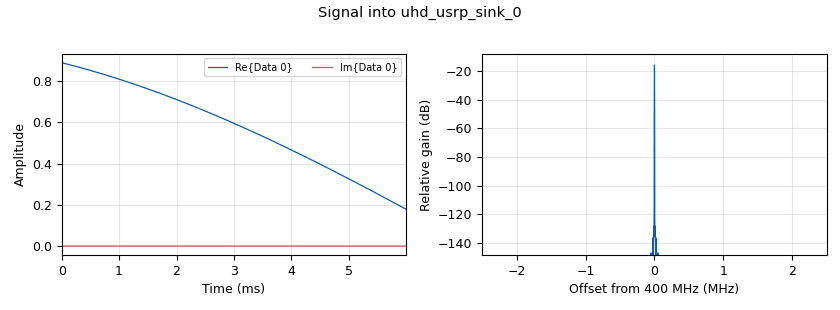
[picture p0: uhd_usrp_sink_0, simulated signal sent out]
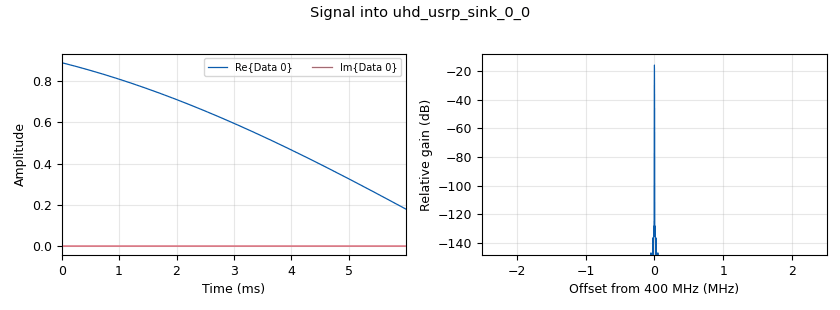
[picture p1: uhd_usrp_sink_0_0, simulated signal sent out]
<?xml version='1.0' encoding='utf-8'?>
<?grc format='1' created='3.7.9'?>
<flow_graph>
<block>
<key>options</key>
<param><key>id</key><value>mimo2x2_singleToneTx</value></param>
<param><key>author</key><value>astro</value></param>
<param><key>category</key><value>Custom</value></param>
<param><key>description</key><value>This is a simple transmitter to study mimo2x2. Ref: Ettus.  -CRC Lab-</value></param>
<param><key>generate_options</key><value>qt_gui</value></param>
<param><key>title</key><value>mimo2x2_singleToneTx</value></param>
</block>
<block>
<key>variable</key>
<param><key>id</key><value>amp</value></param>
<param><key>value</key><value>1</value></param>
</block>
<block>
<key>variable</key>
<param><key>id</key><value>freq</value></param>
<param><key>value</key><value>400e6</value></param>
</block>
<block>
<key>variable</key>
<param><key>id</key><value>gain</value></param>
<param><key>value</key><value>15</value></param>
</block>
<block>
<key>variable</key>
<param><key>id</key><value>gain_0</value></param>
<param><key>value</key><value>10</value></param>
</block>
<block>
<key>variable_qtgui_range</key>
<param><key>id</key><value>phase</value></param>
<param><key>value</key><value>0</value></param>
<param><key>orient</key><value>Qt.Horizontal</value></param>
<param><key>start</key><value>0</value></param>
<param><key>step</key><value>0.5</value></param>
<param><key>stop</key><value>6.283</value></param>
</block>
<block>
<key>variable</key>
<param><key>id</key><value>samp_rate</value></param>
<param><key>value</key><value>5e6</value></param>
</block>
<block>
<key>analog_sig_source_x</key>
<param><key>id</key><value>analog_sig_source_x_0</value></param>
<param><key>amp</key><value>amp</value></param>
<param><key>freq</key><value>freq</value></param>
<param><key>offset</key><value>0</value></param>
<param><key>type</key><value>float</value></param>
<param><key>samp_rate</key><value>samp_rate</value></param>
<param><key>waveform</key><value>analog.GR_SIN_WAVE</value></param>
</block>
<block>
<key>analog_sig_source_x</key>
<param><key>id</key><value>analog_sig_source_x_0_0</value></param>
<param><key>amp</key><value>amp</value></param>
<param><key>freq</key><value>freq</value></param>
<param><key>offset</key><value>0</value></param>
<param><key>type</key><value>float</value></param>
<param><key>samp_rate</key><value>samp_rate</value></param>
<param><key>waveform</key><value>analog.GR_SIN_WAVE</value></param>
</block>
<block>
<key>blocks_float_to_complex</key>
<param><key>id</key><value>blocks_float_to_complex_0</value></param>
</block>
<block>
<key>blocks_float_to_complex</key>
<param><key>id</key><value>blocks_float_to_complex_0_0</value></param>
</block>
<block>
<key>uhd_usrp_sink</key>
<param><key>id</key><value>uhd_usrp_sink_0</value></param>
<param><key>ant0</key><value>TX/RX</value></param>
<param><key>bw0</key><value>samp_rate</value></param>
<param><key>center_freq0</key><value>freq</value></param>
<param><key>norm_gain0</key><value>False</value></param>
<param><key>gain0</key><value>gain</value></param>
<param><key>clock_rate</key><value>0.0</value></param>
<param><key>dev_args</key><value>""</value></param>
<param><key>type</key><value>fc32</value></param>
<param><key>samp_rate</key><value>samp_rate</value></param>
<param><key>hide_cmd_port</key><value>False</value></param>
<param><key>sync</key><value></value></param>
<param><key>len_tag_name</key><value></value></param>
</block>
<block>
<key>uhd_usrp_sink</key>
<param><key>id</key><value>uhd_usrp_sink_0_0</value></param>
<param><key>ant0</key><value>TX/RX</value></param>
<param><key>bw0</key><value>samp_rate</value></param>
<param><key>center_freq0</key><value>freq</value></param>
<param><key>norm_gain0</key><value>False</value></param>
<param><key>gain0</key><value>gain</value></param>
<param><key>clock_rate</key><value>0.0</value></param>
<param><key>dev_args</key><value>""</value></param>
<param><key>type</key><value>fc32</value></param>
<param><key>samp_rate</key><value>samp_rate</value></param>
<param><key>hide_cmd_port</key><value>False</value></param>
<param><key>sync</key><value></value></param>
<param><key>len_tag_name</key><value></value></param>
</block>
<connection><source_block_id>analog_sig_source_x_0</source_block_id><sink_block_id>blocks_float_to_complex_0</sink_block_id><source_key>0</source_key><sink_key>0</sink_key></connection>
<connection><source_block_id>analog_sig_source_x_0_0</source_block_id><sink_block_id>blocks_float_to_complex_0_0</sink_block_id><source_key>0</source_key><sink_key>0</sink_key></connection>
<connection><source_block_id>blocks_float_to_complex_0</source_block_id><sink_block_id>uhd_usrp_sink_0</sink_block_id><source_key>0</source_key><sink_key>0</sink_key></connection>
<connection><source_block_id>blocks_float_to_complex_0_0</source_block_id><sink_block_id>uhd_usrp_sink_0_0</sink_block_id><source_key>0</source_key><sink_key>0</sink_key></connection>
</flow_graph>
